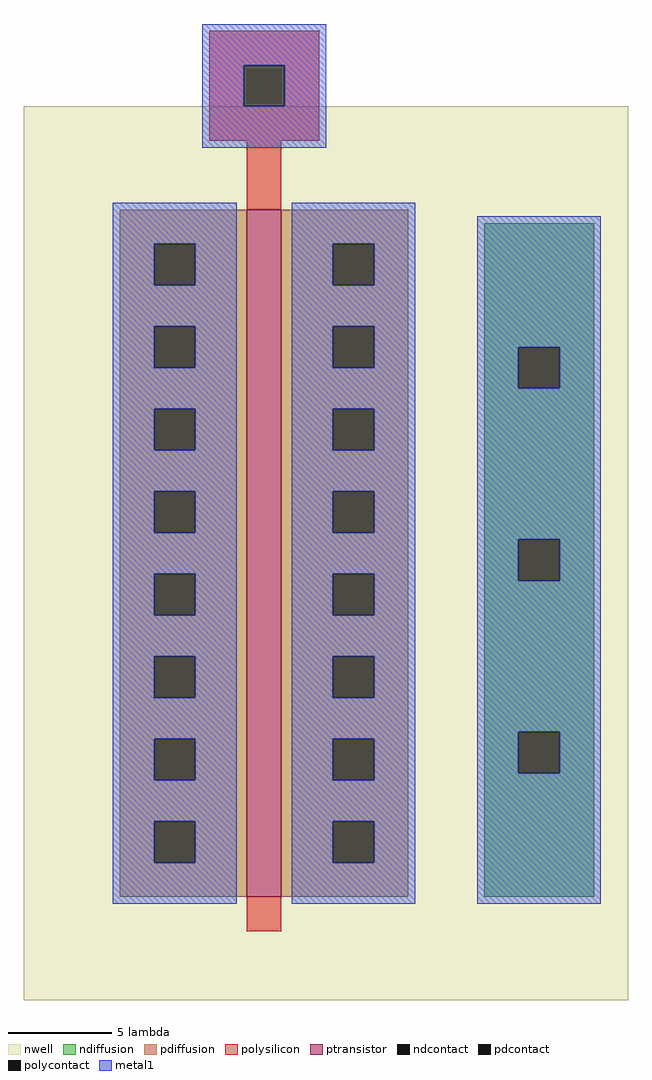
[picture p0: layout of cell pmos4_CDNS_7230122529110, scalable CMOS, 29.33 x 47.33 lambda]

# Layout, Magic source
magic
tech scmos
magscale 1 6
<< nwell >>
rect -16 -16 160 244
<< ptransistor >>
rect 49 14 59 214
<< pdiffusion >>
rect 12 204 49 214
rect 12 192 22 204
rect 34 192 49 204
rect 12 180 49 192
rect 12 168 22 180
rect 34 168 49 180
rect 12 156 49 168
rect 12 144 22 156
rect 34 144 49 156
rect 12 132 49 144
rect 12 120 22 132
rect 34 120 49 132
rect 12 108 49 120
rect 12 96 22 108
rect 34 96 49 108
rect 12 84 49 96
rect 12 72 22 84
rect 34 72 49 84
rect 12 60 49 72
rect 12 48 22 60
rect 34 48 49 60
rect 12 36 49 48
rect 12 24 22 36
rect 34 24 49 36
rect 12 14 49 24
rect 59 204 96 214
rect 59 192 74 204
rect 86 192 96 204
rect 59 180 96 192
rect 59 168 74 180
rect 86 168 96 180
rect 59 156 96 168
rect 59 144 74 156
rect 86 144 96 156
rect 59 132 96 144
rect 59 120 74 132
rect 86 120 96 132
rect 59 108 96 120
rect 59 96 74 108
rect 86 96 96 108
rect 59 84 96 96
rect 59 72 74 84
rect 86 72 96 84
rect 59 60 96 72
rect 59 48 74 60
rect 86 48 96 60
rect 59 36 96 48
rect 59 24 74 36
rect 86 24 96 36
rect 59 14 96 24
<< pdcontact >>
rect 22 192 34 204
rect 22 168 34 180
rect 22 144 34 156
rect 22 120 34 132
rect 22 96 34 108
rect 22 72 34 84
rect 22 48 34 60
rect 22 24 34 36
rect 74 192 86 204
rect 74 168 86 180
rect 74 144 86 156
rect 74 120 86 132
rect 74 96 86 108
rect 74 72 86 84
rect 74 48 86 60
rect 74 24 86 36
<< polysilicon >>
rect 49 214 59 234
rect 49 4 59 14
<< metal1 >>
rect 10 204 46 216
rect 10 192 22 204
rect 34 192 46 204
rect 10 180 46 192
rect 10 168 22 180
rect 34 168 46 180
rect 10 156 46 168
rect 10 144 22 156
rect 34 144 46 156
rect 10 132 46 144
rect 10 120 22 132
rect 34 120 46 132
rect 10 108 46 120
rect 10 96 22 108
rect 34 96 46 108
rect 10 84 46 96
rect 10 72 22 84
rect 34 72 46 84
rect 10 60 46 72
rect 10 48 22 60
rect 34 48 46 60
rect 10 36 46 48
rect 10 24 22 36
rect 34 24 46 36
rect 10 12 46 24
rect 62 204 98 216
rect 62 192 74 204
rect 86 192 98 204
rect 62 180 98 192
rect 62 168 74 180
rect 86 168 98 180
rect 62 156 98 168
rect 62 144 74 156
rect 86 144 98 156
rect 62 132 98 144
rect 62 120 74 132
rect 86 120 98 132
rect 62 108 98 120
rect 62 96 74 108
rect 86 96 98 108
rect 62 84 98 96
rect 62 72 74 84
rect 86 72 98 84
rect 62 60 98 72
rect 62 48 74 60
rect 86 48 98 60
rect 62 36 98 48
rect 62 24 74 36
rect 86 24 98 36
rect 62 12 98 24
use ntap_CDNS_7230122529111  ntap_CDNS_7230122529111_0
transform 1 0 108 0 1 4
box 8 8 44 208
use poly1cont_CDNS_723012252918  poly1cont_CDNS_723012252918_0
transform 1 0 36 0 1 232
box 0 0 36 36
<< end >>

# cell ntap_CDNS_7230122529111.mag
magic
tech scmos
magscale 1 3
<< ndiffusion >>
rect 5 85 21 103
rect 5 79 10 85
rect 16 79 21 85
rect 5 57 21 79
rect 5 51 10 57
rect 16 51 21 57
rect 5 29 21 51
rect 5 23 10 29
rect 16 23 21 29
rect 5 5 21 23
<< ndcontact >>
rect 10 79 16 85
rect 10 51 16 57
rect 10 23 16 29
<< metal1 >>
rect 4 85 22 104
rect 4 79 10 85
rect 16 79 22 85
rect 4 57 22 79
rect 4 51 10 57
rect 16 51 22 57
rect 4 29 22 51
rect 4 23 10 29
rect 16 23 22 29
rect 4 4 22 23
<< end >>

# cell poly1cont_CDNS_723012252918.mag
magic
tech scmos
magscale 1 3
<< polysilicon >>
rect 1 12 17 17
rect 1 6 6 12
rect 12 6 17 12
rect 1 1 17 6
<< polycontact >>
rect 6 6 12 12
<< metal1 >>
rect 0 12 18 18
rect 0 6 6 12
rect 12 6 18 12
rect 0 0 18 6
<< end >>
